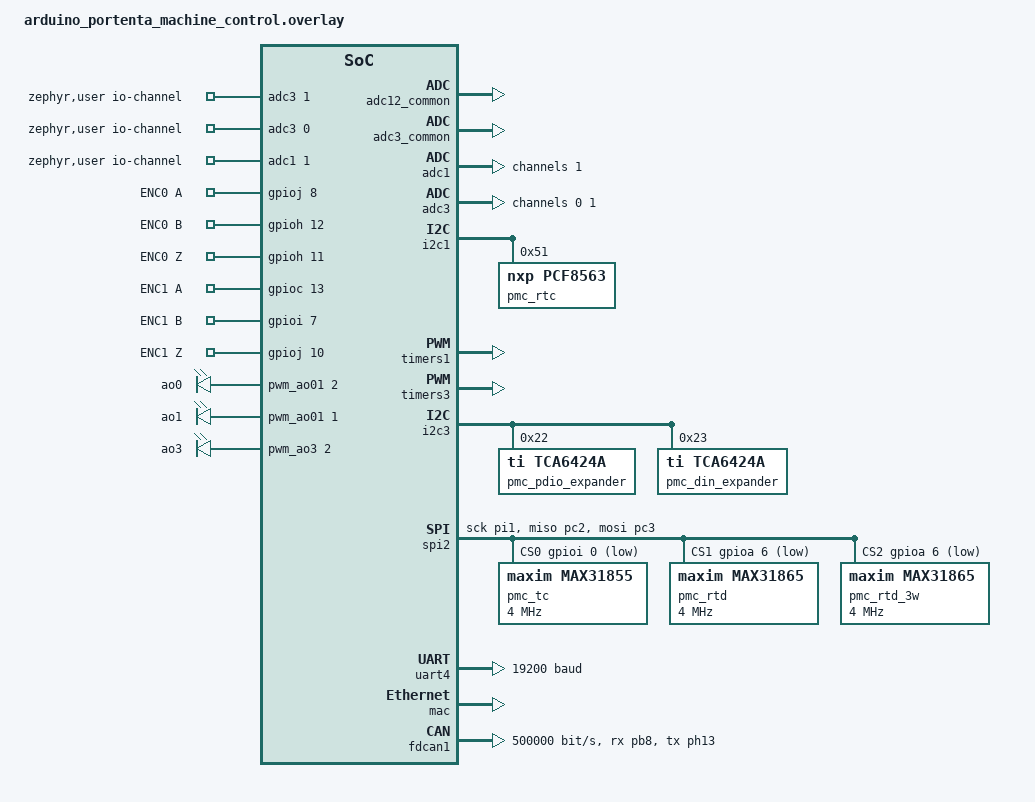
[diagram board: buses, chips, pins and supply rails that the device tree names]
/*
 * Arduino Portenta Machine Control (AKX00032) carrier.
 *
 * SPDX-License-Identifier: Apache-2.0
 * Copyright (c) 2026 Noah Christian
 *
 * The reasoning behind every node here is in docs/SHIELD.md, under the same
 * node names. The hardware facts themselves are split by how well they are
 * known: docs/HARDWARE_FROM_MANUAL.md, docs/INFERRED_FROM_MBED.md and
 * docs/MEASURED.md.
 */

#include <zephyr/dt-bindings/pwm/pwm.h>

/ {
	/* AI0, AI1, AI2 in panel order: PC_3C, PC_2C, PA_1C. */
	zephyr,user {
		io-channels = <&adc3 1>, <&adc3 0>, <&adc1 1>;
	};
};

/* The board definition enables NO ADC at all, so both are turned on here.
 * SYNC clock with a prescaler of 4; see docs/SHIELD.md. */
&adc12_common {
	st,adc-clock-source = "SYNC";
	st,adc-prescaler = <4>;
	status = "okay";
};

&adc3_common {
	st,adc-clock-source = "SYNC";
	st,adc-prescaler = <4>;
	status = "okay";
};

/* AI2, on PA_1C. The SYSCFG analog switch for PA1 must be open or this reads
 * the Ethernet RMII clock - see pmc_syscfg.c. */
&adc1 {
	pinctrl-0 = <&adc1_inp1_pa1_c>;
	pinctrl-names = "default";
	status = "okay";
	#address-cells = <1>;
	#size-cells = <0>;

	channel@1 {
		reg = <1>;
		zephyr,gain = "ADC_GAIN_1";
		zephyr,reference = "ADC_REF_INTERNAL";
		zephyr,acquisition-time = <ADC_ACQ_TIME_DEFAULT>;
		zephyr,resolution = <16>;
	};
};

/* AI0 and AI1, on PC_3C and PC_2C - shared with the temperature SPI bus
 * unless those analog switches are open too. */
&adc3 {
	pinctrl-0 = <&adc3_inp0_pc2_c &adc3_inp1_pc3_c>;
	pinctrl-names = "default";
	status = "okay";
	#address-cells = <1>;
	#size-cells = <0>;

	channel@0 {
		reg = <0>;
		zephyr,gain = "ADC_GAIN_1";
		zephyr,reference = "ADC_REF_INTERNAL";
		zephyr,acquisition-time = <ADC_ACQ_TIME_DEFAULT>;
		zephyr,resolution = <16>;
	};

	channel@1 {
		reg = <1>;
		zephyr,gain = "ADC_GAIN_1";
		zephyr,reference = "ADC_REF_INTERNAL";
		zephyr,acquisition-time = <ADC_ACQ_TIME_DEFAULT>;
		zephyr,resolution = <16>;
	};
};

&i2c1 {
	pmc_rtc: pcf8563@51 {
		compatible = "nxp,pcf8563";
		reg = <0x51>;
		status = "okay";
	};
};

/*
 * The encoder inputs. Declared as gpio-keys purely to give each line a
 * nodelabel and a GPIO spec; no input driver is enabled, so nothing else
 * claims them and enc.c takes them directly with GPIO_DT_SPEC_GET.
 *
 * NEITHER ENCODER CAN USE THE STM32's HARDWARE QUADRATURE DECODER, and that
 * is a fact about this package rather than a choice. Encoder mode needs
 * channels 1 and 2 of ONE timer on A and B. Checked against
 * stm32h747xihx-pinctrl.dtsi, which is the authority on what this silicon can
 * do:
 *
 *   ENC0  A PJ8  = tim8_ch1       B PH12 = tim5_ch3    different timers,
 *                                                      and CH3, not CH2
 *   ENC1  A PC13 = analog ONLY    B PI7  = tim8_ch3    PC13 has no timer
 *                                                      function at all
 *
 * PC13 is the striking one: it carries no alternate function whatsoever on
 * this package. It is a backup-domain pin and it can only ever be a GPIO
 * here. So both channels are decoded in software from GPIO interrupts - see
 * app/src/enc.c for what that costs and where it stops working.
 *
 * This is the same shape as AO2 below, and was found the same way: grep the
 * pinctrl file before writing a line of driver code.
 */
/ {
	pmc_encoder_in: pmc-encoder-in {
		compatible = "gpio-keys";
		enc0a: enc0a { gpios = <&gpioj 8  GPIO_ACTIVE_HIGH>; label = "ENC0 A"; };
		enc0b: enc0b { gpios = <&gpioh 12 GPIO_ACTIVE_HIGH>; label = "ENC0 B"; };
		enc0z: enc0z { gpios = <&gpioh 11 GPIO_ACTIVE_HIGH>; label = "ENC0 Z"; };
		enc1a: enc1a { gpios = <&gpioc 13 GPIO_ACTIVE_HIGH>; label = "ENC1 A"; };
		enc1b: enc1b { gpios = <&gpioi 7  GPIO_ACTIVE_HIGH>; label = "ENC1 B"; };
		enc1z: enc1z { gpios = <&gpioj 10 GPIO_ACTIVE_HIGH>; label = "ENC1 Z"; };
	};
};

/* AO0 and AO1 on TIM1. There is no AO2 here: PG_7 has no timer channel on
 * this package, so it cannot be driven by PWM at all. */
&timers1 {
	st,prescaler = <0>;
	status = "okay";

	pwm_ao01: pwm {
		status = "okay";
		pinctrl-0 = <&tim1_ch1_pk1 &tim1_ch2_pj11>;
		pinctrl-names = "default";
	};
};

/* AO3 on TIM3. */
&timers3 {
	st,prescaler = <0>;
	status = "okay";

	pwm_ao3: pwm {
		status = "okay";
		pinctrl-0 = <&tim3_ch2_pc7>;
		pinctrl-names = "default";
	};
};

/* 50 us period, i.e. 20 kHz, for the RC filter that turns each PWM into a
 * voltage. The channel numbers are timer channels, not AO numbers. */
/ {
	pmc_ao: pmc-ao {
		compatible = "pwm-leds";
		ao0: ao0 { pwms = <&pwm_ao01 2 PWM_USEC(50) PWM_POLARITY_NORMAL>; };
		ao1: ao1 { pwms = <&pwm_ao01 1 PWM_USEC(50) PWM_POLARITY_NORMAL>; };
		ao3: ao3 { pwms = <&pwm_ao3  2 PWM_USEC(50) PWM_POLARITY_NORMAL>; };
	};
};

/* THE EXPANDERS ARE ON i2c3, MEASURED - not i2c1 as the mbed library implies.
 * 0x22 carries the 12 programmable channels, 0x23 the 8 digital inputs. DIN
 * and PDIO are expander bits, not MCU pads. */
&i2c3 {
	status = "okay";

	pmc_pdio_expander: tca6424a@22 {
		compatible = "ti,tca6424a";
		reg = <0x22>;
		gpio-controller;
		#gpio-cells = <2>;
		ngpios = <24>;
		status = "okay";
	};

	pmc_din_expander: tca6424a@23 {
		compatible = "ti,tca6424a";
		reg = <0x23>;
		gpio-controller;
		#gpio-cells = <2>;
		ngpios = <24>;
		status = "okay";
	};
};

/*
 * The temperature bus. Two converters, three devicetree instances.
 *
 * NSS is dropped from pinctrl on purpose: PI_0 is the thermocouple chip
 * select and has to be an ordinary GPIO. And PA6 appears TWICE in cs-gpios
 * because there is one MAX31865 and two instances of it - pmc_rtd for 2- or
 * 4-wire and pmc_rtd_3w for 3-wire, selected at runtime.
 */
&spi2 {
	pinctrl-0 = <&spi2_sck_pi1 &spi2_miso_pc2 &spi2_mosi_pc3>;
	pinctrl-names = "default";
	cs-gpios = <&gpioi 0 GPIO_ACTIVE_LOW>,
		   <&gpioa 6 GPIO_ACTIVE_LOW>,
		   <&gpioa 6 GPIO_ACTIVE_LOW>;
	status = "okay";

	pmc_tc: max31855@0 {
		compatible = "maxim,max31855";
		reg = <0>;
		spi-max-frequency = <4000000>;
		status = "okay";
	};

	/* PT100 and the 400 ohm reference its datasheet recommends. A PT1000
	 * would need 1000 and 4000, and getting it wrong gives a steady,
	 * plausible reading with no fault bit. 60 Hz notch, by OMITTING
	 * filter-50hz - note that property has no vendor prefix. */
	pmc_rtd: max31865@1 {
		compatible = "maxim,max31865";
		reg = <1>;
		spi-max-frequency = <4000000>;
		resistance-at-zero = <100>;
		resistance-reference = <400>;
		status = "okay";
	};

	/* The same chip again, 3-wire. maxim,3-wire DOES carry the prefix. */
	pmc_rtd_3w: max31865@2 {
		compatible = "maxim,max31865";
		reg = <2>;
		spi-max-frequency = <4000000>;
		resistance-at-zero = <100>;
		resistance-reference = <400>;
		maxim,3-wire;
		status = "okay";
	};
};

/* RS485/RS232 through the SP335. No de-enable: UART4's hardware DE exists
 * only on PA15 or PB14 in this package and this carrier routes DE to PI_13,
 * so the turnaround is done in software. See rs485.c. */
&uart4 {
	status = "okay";
	current-speed = <19200>;
};

/* Ethernet on J13, as a second path so the update path does not depend on the
 * radio. Working at 100 Mbit full duplex - see docs/MEASURED.md. */
&mac {
	status = "okay";
};

/*
 * CAN on the HMI connector, through FDCAN1.
 *
 * TX AND RX ARE THE OTHER WAY ROUND FROM THE mbed LIBRARY. pins_mc.h records
 * "CAN TX PB_8 RX PH_13"; this package's pinctrl offers only fdcan1_RX on PB8
 * and only fdcan1_TX on PH13, with no second FDCAN function on either. The
 * silicon's table wins over another program's header, and the pad column in
 * tools/terminals.csv has been corrected to match. Marked [MBED] wherever it
 * is repeated, because it is still unconfirmed at the connector: nothing has
 * yet put a frame on a wire and watched it arrive.
 *
 * Classic CAN, not CAN FD. The carrier's transceiver, the 120 ohm termination
 * and every dongle likely to be on this bench are classic; FD would also need
 * a data-phase bitrate nobody has specified. The controller is FD-capable and
 * turning it on later is a Kconfig and a second timing block.
 */
&fdcan1 {
	status = "okay";
	pinctrl-0 = <&fdcan1_rx_pb8 &fdcan1_tx_ph13>;
	pinctrl-names = "default";
	bitrate = <500000>;
	sample-point = <875>;
};

/* The PHY sources the RMII reference clock, and its PLL has to lock before
 * the MAC resets itself. Honored by regulator_fixed.c with a k_usleep. */
&ethernet_phy_en {
	startup-delay-us = <50000>;
};
